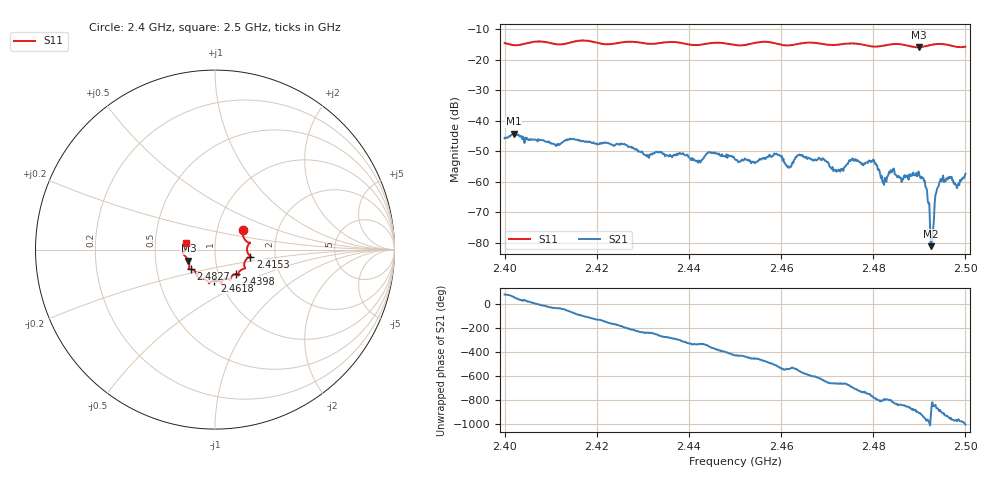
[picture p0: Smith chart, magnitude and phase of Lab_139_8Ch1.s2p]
# Hz S RI R 50
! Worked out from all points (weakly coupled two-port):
!   601 points, 2.4 GHz to 2.5 GHz, reference 50 ohm
!   highest |S21| = -44.21 dB at 2.402 GHz (marker M1); lowest = -81.1 dB at 2.4925 GHz (marker M2)
!   lowest |S11| = -15.9 dB at 2.4898 GHz (marker M3), VSWR 1.38, Z = 36.9 - j4.63 ohm
!   |S11| at or under -10 dB: start of sweep to end of sweep
!   S12 and S22 are empty: the file has one direction only
!   S11 on the Smith chart (normalised r, x): 2.4 GHz: 1.33, +0.29; 2.4153 GHz: 1.48, -0.12; 2.4398 GHz: 1.21, -0.34; 2.4618 GHz: 0.94, -0.33; 2.4827 GHz: 0.75, -0.17; 2.5 GHz: 0.72, +0.06
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2.4e9  0.1549 0.1065  0.00135 0.00499  0 0  0 0
2.402e9  0.1574 0.074  0.00361 0.00499  0 0  0 0
2.415333e9  0.1966 -0.0391  0.000623 -0.00487  0 0  0 0
2.416667e9  0.2025 -0.0433  -0.000898 -0.00451  0 0  0 0
2.433333e9  0.13 -0.1337  -0.000391 0.003  0 0  0 0
2.439833e9  0.1157 -0.1362  0.00223 0.0013  0 0  0 0
2.45e9  0.0648 -0.1622  0.00066 -0.00221  0 0  0 0
2.459e9  0.0308 -0.1812  -0.00263 -0.00118  0 0  0 0
2.461833e9  -0.00291 -0.1724  -0.00176 0.00012  0 0  0 0
2.463833e9  -0.0263 -0.181  -0.0026 0.000957  0 0  0 0
2.466667e9  -0.0342 -0.1881  -0.00111 0.00206  0 0  0 0
2.472333e9  -0.0738 -0.1606  0.000899 0.00121  0 0  0 0
2.479667e9  -0.1073 -0.1262  0.00138 -0.00169  0 0  0 0
2.482667e9  -0.1348 -0.1087  0.000277 -0.00108  0 0  0 0
2.483333e9  -0.1399 -0.1084  0.000139 -0.00132  0 0  0 0
2.489833e9  -0.1481 -0.0612  -0.00145 0.000224  0 0  0 0
2.491167e9  -0.1595 -0.043  -0.000567 0.000873  0 0  0 0
2.4925e9  -0.1724 -0.0299  -7.55e-05 4.44e-05  0 0  0 0
2.492833e9  -0.1748 -0.0275  -2.7e-05 -0.000122  0 0  0 0
2.493833e9  -0.18 -0.0229  -0.000673 -0.00036  0 0  0 0
2.494667e9  -0.1805 -0.0203  -0.00112 -8.05e-06  0 0  0 0
2.5e9  -0.1594 0.0385  0.000442 0.00127  0 0  0 0
